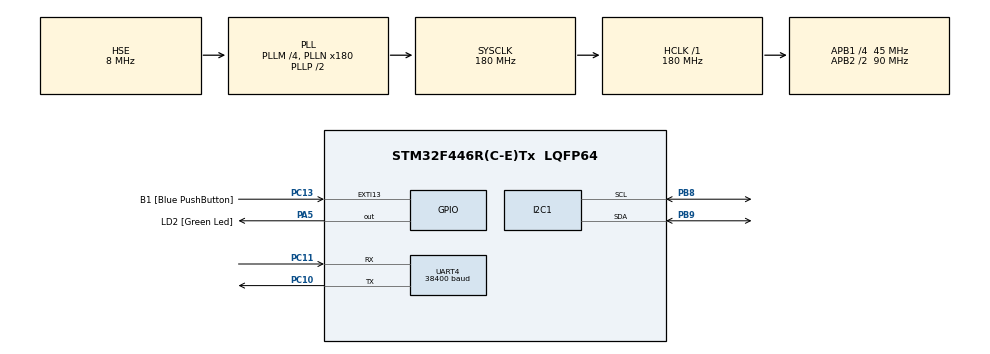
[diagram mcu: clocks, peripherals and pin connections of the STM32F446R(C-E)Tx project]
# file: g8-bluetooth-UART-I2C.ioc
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Dma.Request0=UART4_RX
Dma.UART4_RX.0.Direction=DMA_PERIPH_TO_MEMORY
Dma.UART4_RX.0.FIFOMode=DMA_FIFOMODE_DISABLE
Dma.UART4_RX.0.Instance=DMA1_Stream2
Dma.UART4_RX.0.MemDataAlignment=DMA_MDATAALIGN_BYTE
Dma.UART4_RX.0.MemInc=DMA_MINC_ENABLE
Dma.UART4_RX.0.Mode=DMA_CIRCULAR
Dma.UART4_RX.0.PeriphDataAlignment=DMA_PDATAALIGN_BYTE
Dma.UART4_RX.0.PeriphInc=DMA_PINC_DISABLE
Dma.UART4_RX.0.Priority=DMA_PRIORITY_LOW
I2C1.I2C_Mode=I2C_Fast
Mcu.Family=STM32F4
Mcu.Name=STM32F446R(C-E)Tx
Mcu.Package=LQFP64
NVIC.DMA1_Stream2_IRQn=true\:0\:0\:false\:false\:true\:false
NVIC.PriorityGroup=NVIC_PRIORITYGROUP_0
PA13.GPIO_Label=TMS
PA13.Mode=Serial_Wire
PA13.Signal=SYS_JTMS-SWDIO
PA14.GPIO_Label=TCK
PA14.Mode=Serial_Wire
PA14.Signal=SYS_JTCK-SWCLK
PA5.GPIO_Label=LD2 [Green Led]
PA5.Signal=GPIO_Output
PB3.GPIO_Label=SWO
PB3.Signal=SYS_JTDO-SWO
PB8.Mode=I2C
PB8.Signal=I2C1_SCL
PB9.Mode=I2C
PB9.Signal=I2C1_SDA
PC10.Mode=Asynchronous
PC10.Signal=UART4_TX
PC11.Mode=Asynchronous
PC11.Signal=UART4_RX
PC13.GPIO_Label=B1 [Blue PushButton]
PC13.GPIO_ModeDefaultEXTI=GPIO_MODE_IT_FALLING
PC13.Signal=GPXTI13
PC14-OSC32_IN.Signal=RCC_OSC32_IN
PC15-OSC32_OUT.Signal=RCC_OSC32_OUT
PH0-OSC_IN.Mode=HSE-External-Oscillator
PH0-OSC_IN.Signal=RCC_OSC_IN
PH1-OSC_OUT.Mode=HSE-External-Oscillator
PH1-OSC_OUT.Signal=RCC_OSC_OUT
ProjectManager.HeapSize=0x200
ProjectManager.StackSize=0x400
ProjectManager.TargetToolchain=SW4STM32
RCC.48MHZClocksFreq_Value=84000000
RCC.AHBFreq_Value=180000000
RCC.APB1CLKDivider=RCC_HCLK_DIV4
RCC.APB1Freq_Value=45000000
RCC.APB1TimFreq_Value=90000000
RCC.APB2CLKDivider=RCC_HCLK_DIV2
RCC.APB2Freq_Value=90000000
RCC.APB2TimFreq_Value=180000000
RCC.CortexFreq_Value=180000000
RCC.FLatency-AdvancedSettings=FLASH_LATENCY_5
RCC.HCLKFreq_Value=180000000
RCC.HSE_VALUE=8000000
RCC.HSI_VALUE=16000000
RCC.PLLM=4
RCC.PLLN=180
RCC.PLLSourceVirtual=RCC_PLLSOURCE_HSE
RCC.SYSCLKFreq_VALUE=180000000
RCC.SYSCLKSource=RCC_SYSCLKSOURCE_PLLCLK
RCC.USBFreq_Value=180000000
RCC.VCOOutputFreq_Value=360000000
UART4.BaudRate=38400
UART4.VirtualMode=Asynchronous
board=NUCLEO-F446RE

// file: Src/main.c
/**
  ******************************************************************************
  * @file           : main.c
  * @brief          : Main program body
  ******************************************************************************
  ** This notice applies to any and all portions of this file
  * that are not between comment pairs USER CODE BEGIN and
  * USER CODE END. Other portions of this file, whether
  * inserted by the user or by software development tools
  * are owned by their respective copyright owners.
  *
  * COPYRIGHT(c) 2018 STMicroelectronics
  *
  * Redistribution and use in source and binary forms, with or without modification,
  * are permitted provided that the following conditions are met:
  *   1. Redistributions of source code must retain the above copyright notice,
  *      this list of conditions and the following disclaimer.
  *   2. Redistributions in binary form must reproduce the above copyright notice,
  *      this list of conditions and the following disclaimer in the documentation
  *      and/or other materials provided with the distribution.
  *   3. Neither the name of STMicroelectronics nor the names of its contributors
  *      may be used to endorse or promote products derived from this software
  *      without specific prior written permission.
  *
  * THIS SOFTWARE IS PROVIDED BY THE COPYRIGHT HOLDERS AND CONTRIBUTORS "AS IS"
  * AND ANY EXPRESS OR IMPLIED WARRANTIES, INCLUDING, BUT NOT LIMITED TO, THE
  * IMPLIED WARRANTIES OF MERCHANTABILITY AND FITNESS FOR A PARTICULAR PURPOSE ARE
  * DISCLAIMED. IN NO EVENT SHALL THE COPYRIGHT HOLDER OR CONTRIBUTORS BE LIABLE
  * FOR ANY DIRECT, INDIRECT, INCIDENTAL, SPECIAL, EXEMPLARY, OR CONSEQUENTIAL
  * DAMAGES (INCLUDING, BUT NOT LIMITED TO, PROCUREMENT OF SUBSTITUTE GOODS OR
  * SERVICES; LOSS OF USE, DATA, OR PROFITS; OR BUSINESS INTERRUPTION) HOWEVER
  * CAUSED AND ON ANY THEORY OF LIABILITY, WHETHER IN CONTRACT, STRICT LIABILITY,
  * OR TORT (INCLUDING NEGLIGENCE OR OTHERWISE) ARISING IN ANY WAY OUT OF THE USE
  * OF THIS SOFTWARE, EVEN IF ADVISED OF THE POSSIBILITY OF SUCH DAMAGE.
  *
  ******************************************************************************
  */
#include "main.h"
#include "stm32f4xx_hal.h"
#include "dma.h"
#include "i2c.h"
#include "usart.h"
#include "gpio.h"

/* USER CODE BEGIN Includes */

#include "lcd.h"
#include "BMP280.h"
#include "ringbuffer_dma.h"
#include <string.h>

/* USER CODE END Includes */

/* USER CODE BEGIN PV */
/* Private variables ---------------------------------------------------------*/
/* Current pressure at sea level in hPa taken from http://www.aviador.es/Weather/Meteogram/UKKK */

#define QNH 1020
/* Variables for all measurements */
double temp, press, alt;
int8_t com_rslt;

extern DMA_HandleTypeDef hdma_uart4_rx;
/* Ringbuffer for Rx messages */
RingBuffer_DMA rx_buf;
/* Array for DMA to save Rx bytes */
#define BUF_SIZE 256
uint8_t rx[BUF_SIZE];
uint32_t rx_count = 0;
/* Array for received commands */
char cmd[128];
uint8_t icmd = 0;
/* Array for Tx messages */
uint8_t tx[100];

/* USER CODE END PV */

void SystemClock_Config(void);

/* USER CODE BEGIN PFP */
/* Private function prototypes -----------------------------------------------*/

void Process_Command(char * command);

/* USER CODE END PFP */

int main(void)
{

  /* MCU Configuration----------------------------------------------------------*/

  /* Reset of all peripherals, Initializes the Flash interface and the Systick. */
  HAL_Init();

  /* Configure the system clock */
  SystemClock_Config();

  /* Initialize all configured peripherals */
  MX_GPIO_Init();
  MX_DMA_Init();
  MX_UART4_Init();
  MX_I2C1_Init();
  /* USER CODE BEGIN 2 */

  LCD_Init();

  /* Start BMP280 and change settings */
  LCD_Printf("Connecting to BMP280...\n");
  bmp280_t bmp280 = {.i2c_handle = &hi2c1};
  com_rslt = BMP280_init(&bmp280);
  com_rslt += BMP280_set_power_mode(BMP280_NORMAL_MODE);
  com_rslt += BMP280_set_work_mode(BMP280_STANDARD_RESOLUTION_MODE);
  com_rslt += BMP280_set_standby_durn(BMP280_STANDBY_TIME_1_MS);
  if (com_rslt != SUCCESS) {
  	LCD_Printf("Check BMP280 connection!\nProgram terminated");
  	return 0;
  }
  LCD_Printf("Connection successful!\n");

  /* Init RingBuffer_DMA object */
  RingBuffer_DMA_Init(&rx_buf, &hdma_uart4_rx, rx, BUF_SIZE);
  /* Start UART4 DMA Reception */
  HAL_UART_Receive_DMA(&huart4, rx, BUF_SIZE);

  /* USER CODE END 2 */

  /* Infinite loop */
  while (1)
  {

  /* USER CODE BEGIN 3 */

     /* Check number of bytes in RingBuffer */
     rx_count = RingBuffer_DMA_Count(&rx_buf);

     /* Process each byte individually */
     while (rx_count--)
     {
	    /* Read out one byte from RingBuffer */

	    uint8_t b = RingBuffer_DMA_GetByte(&rx_buf);
	    if (b == '\r' || b == '\n') { /* If \r or \n process command */
	  		/* Terminate string with \0 */
	  				cmd[icmd] = 0;
	  				icmd = 0;
	  				/* Process command */
	  				LCD_Printf(">> %s\n", cmd);
	  				Process_Command(cmd);
	  			} else { /* If regular character, put it into cmd[] */
	  				cmd[icmd++] = b;
	  			}
      }

  }
  /* USER CODE END 3 */

}

void SystemClock_Config(void)
{

  RCC_OscInitTypeDef RCC_OscInitStruct;
  RCC_ClkInitTypeDef RCC_ClkInitStruct;

    /**Configure the main internal regulator output voltage
    */
  __HAL_RCC_PWR_CLK_ENABLE();

  __HAL_PWR_VOLTAGESCALING_CONFIG(PWR_REGULATOR_VOLTAGE_SCALE1);

    /**Initializes the CPU, AHB and APB busses clocks
    */
  RCC_OscInitStruct.OscillatorType = RCC_OSCILLATORTYPE_HSE;
  RCC_OscInitStruct.HSEState = RCC_HSE_ON;
  RCC_OscInitStruct.PLL.PLLState = RCC_PLL_ON;
  RCC_OscInitStruct.PLL.PLLSource = RCC_PLLSOURCE_HSE;
  RCC_OscInitStruct.PLL.PLLM = 4;
  RCC_OscInitStruct.PLL.PLLN = 180;
  RCC_OscInitStruct.PLL.PLLP = RCC_PLLP_DIV2;
  RCC_OscInitStruct.PLL.PLLQ = 2;
  RCC_OscInitStruct.PLL.PLLR = 2;
  if (HAL_RCC_OscConfig(&RCC_OscInitStruct) != HAL_OK)
  {
    _Error_Handler(__FILE__, __LINE__);
  }

    /**Activate the Over-Drive mode
    */
  if (HAL_PWREx_EnableOverDrive() != HAL_OK)
  {
    _Error_Handler(__FILE__, __LINE__);
  }

    /**Initializes the CPU, AHB and APB busses clocks
    */
  RCC_ClkInitStruct.ClockType = RCC_CLOCKTYPE_HCLK|RCC_CLOCKTYPE_SYSCLK
                              |RCC_CLOCKTYPE_PCLK1|RCC_CLOCKTYPE_PCLK2;
  RCC_ClkInitStruct.SYSCLKSource = RCC_SYSCLKSOURCE_PLLCLK;
  RCC_ClkInitStruct.AHBCLKDivider = RCC_SYSCLK_DIV1;
  RCC_ClkInitStruct.APB1CLKDivider = RCC_HCLK_DIV4;
  RCC_ClkInitStruct.APB2CLKDivider = RCC_HCLK_DIV2;

  if (HAL_RCC_ClockConfig(&RCC_ClkInitStruct, FLASH_LATENCY_5) != HAL_OK)
  {
    _Error_Handler(__FILE__, __LINE__);
  }

    /**Configure the Systick interrupt time
    */
  HAL_SYSTICK_Config(HAL_RCC_GetHCLKFreq()/1000);

    /**Configure the Systick
    */
  HAL_SYSTICK_CLKSourceConfig(SYSTICK_CLKSOURCE_HCLK);

  /* SysTick_IRQn interrupt configuration */
  HAL_NVIC_SetPriority(SysTick_IRQn, 0, 0);
}

/* USER CODE BEGIN 4 */
void Process_Command(char * command) {
	if (strcmp(command, "bmp280 temp") == 0) {
		/* Read temperature */
		BMP280_read_temperature_double(&temp);
		sprintf((char *) tx, "Temp : %6.2f C\r\n", temp);
	} else if (strcmp(command, "bmp280 press") == 0) {
		/* Read pressure */
		BMP280_read_pressure_double(&press);
		sprintf((char *) tx, "Press: %6.0f Pa\r\n", press);
	} else if (strcmp(command, "bmp280 alt") == 0) {
		/* Calculate current altitude, based on current QNH pressure */
		sprintf((char *) tx, "Alt  : %3.0f m\r\n", BMP280_calculate_altitude(QNH * 100));
	} else if (strcmp(command, "bmp280 all") == 0) {
		/* Read temperature and pressure */
		BMP280_read_temperature_double(&temp);
		BMP280_read_pressure_double(&press);
		/* Calculate current altitude, based on current QNH pressure */
		alt = BMP280_calculate_altitude(QNH * 100);
		sprintf((char *) tx, "Temp : %6.2f C\nPress: %6.0f Pa\nAlt  : %3.0f m\r\n", temp, press, alt);
	} else {
		sprintf((char *) tx, "command unknown\r\n");
	}
	HAL_UART_Transmit(&huart4, tx, strlen((char *) tx), 100);
	LCD_Printf("<< %s", tx);
}

/* USER CODE END 4 */

void _Error_Handler(char *file, int line)
{
  while(1)
  {
  }
}

/************************ (C) COPYRIGHT STMicroelectronics *****END OF FILE****/
